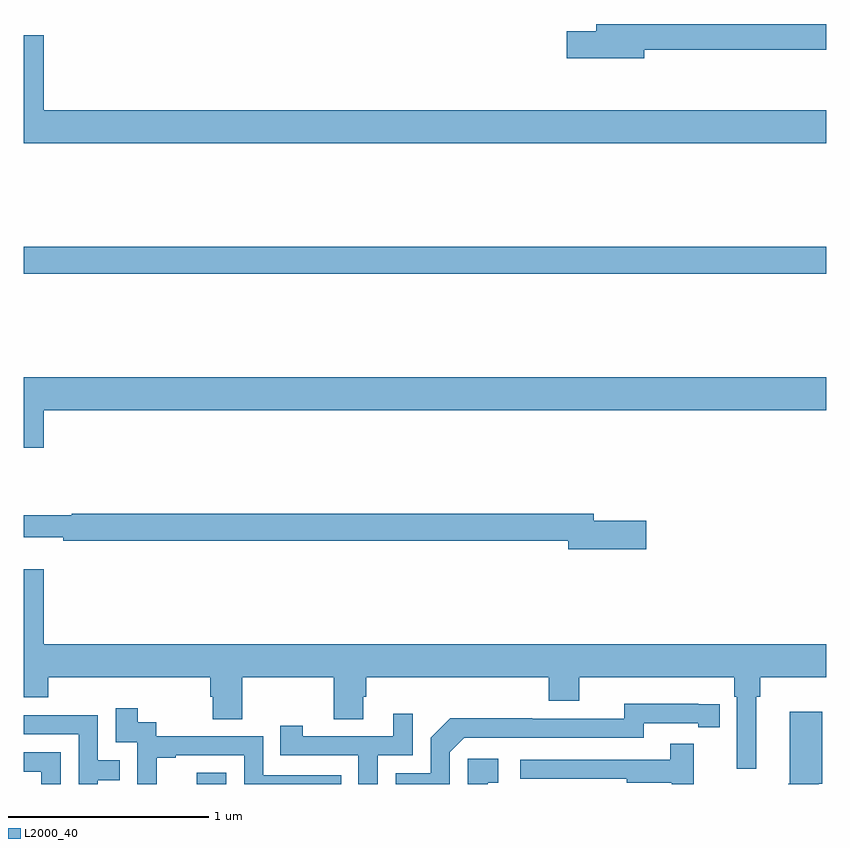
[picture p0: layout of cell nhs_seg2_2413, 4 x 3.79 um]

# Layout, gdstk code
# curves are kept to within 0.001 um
import gdstk
lib = gdstk.Library(unit=1e-6, precision=1e-09)
def R(c, l, rs):  # rectangles x0, y0, x1, y1
    for r in rs: c.add(gdstk.rectangle(r[:2], r[2:], *l))
def P(c, l, *ps):  # polygons
    for p in ps: c.add(gdstk.Polygon(p, *l))
L2000_40 = (2000, 40)

nhs_seg2_2413 = lib.new_cell('nhs_seg2_2413')
R(nhs_seg2_2413, L2000_40, [(237.861,617.8,238.008,617.857), (237,620.344,241,620.48)])
P(nhs_seg2_2413, L2000_40, [(240.094,621.462),(241,621.462),(241,621.59),(239.855,621.59),(239.855,621.554),(239.706,621.554),(239.706,621.419),(240.094,621.419)],
  [(241,621.16),(237.1,621.16),(237.1,621.535),(237,621.535),(237,620.996),(241,620.996)],
  [(237.1,619.664),(241,619.664),(241,619.828),(237,619.828),(237,619.476),(237.1,619.476)],
  [(240.103,619.112),(239.842,619.112),(239.842,619.148),(237.238,619.148),(237.238,619.141),(237,619.141),(237,619.031),(237.196,619.031),(237.196,619.012),(239.714,619.012),(239.714,618.97),(240.103,618.97)],
  [(237.1,618.871),(237,618.871),(237,618.233),(237.122,618.233),(237.122,618.332),(237.929,618.332),(237.929,618.234),(237.941,618.234),(237.941,618.124),(238.089,618.124),(238.089,618.332),(238.546,618.332),(238.546,618.124),(238.693,618.124),(238.693,618.234),(238.706,618.234),(238.706,618.332),(239.618,618.332),(239.618,618.215),(239.77,618.215),(239.77,618.332),(240.542,618.332),(240.542,618.236),(240.555,618.236),(240.555,617.877),(240.652,617.877),(240.652,618.236),(240.671,618.236),(240.671,618.332),(241,618.332),(241,618.496),(237.1,618.496)],
  [(239.124,617.958),(239.196,618.03),(240.09,618.03),(240.09,618.102),(240.362,618.102),(240.362,618.082),(240.47,618.082),(240.47,618.198),(239.994,618.199),(239.994,618.126),(239.534,618.126),(239.534,618.128),(239.126,618.128),(239.028,618.03),(239.028,617.853),(238.854,617.853),(238.854,617.8),(239.124,617.8)],
  [(237.662,617.931),(237.757,617.931),(237.757,617.943),(238.098,617.943),(238.098,617.8),(238.583,617.8),(238.583,617.844),(238.194,617.844),(238.194,618.039),(237.66,618.039),(237.66,618.108),(237.568,618.108),(237.568,618.178),(237.459,618.178),(237.459,618.009),(237.564,618.009),(237.564,617.8),(237.662,617.8)],
  [(240.964,617.802),(240.982,617.802),(240.982,618.16),(240.818,618.16),(240.818,617.802),(240.811,617.802),(240.811,617.8),(240.964,617.8)],
  [(238.764,617.943),(238.938,617.943),(238.938,618.151),(238.841,618.151),(238.841,618.039),(238.39,618.039),(238.39,618.091),(238.279,618.091),(238.279,617.943),(238.668,617.943),(238.668,617.8),(238.764,617.8)],
  [(237.369,617.818),(237.479,617.818),(237.479,617.919),(237.369,617.919),(237.369,618.144),(237,618.144),(237,618.048),(237.273,618.048),(237.273,617.8),(237.369,617.8)],
  [(240.341,618.001),(240.223,618.001),(240.223,617.922),(239.475,617.922),(239.475,617.826),(240.007,617.826),(240.007,617.806),(240.231,617.806),(240.231,617.8),(240.341,617.8)],
  [(237.183,617.958),(237,617.958),(237,617.862),(237.087,617.862),(237.087,617.8),(237.183,617.8)],
  [(239.312,617.805),(239.365,617.805),(239.365,617.926),(239.214,617.926),(239.214,617.8),(239.312,617.8)])

lib.write_gds('nhs_seg2_2413.gds')
